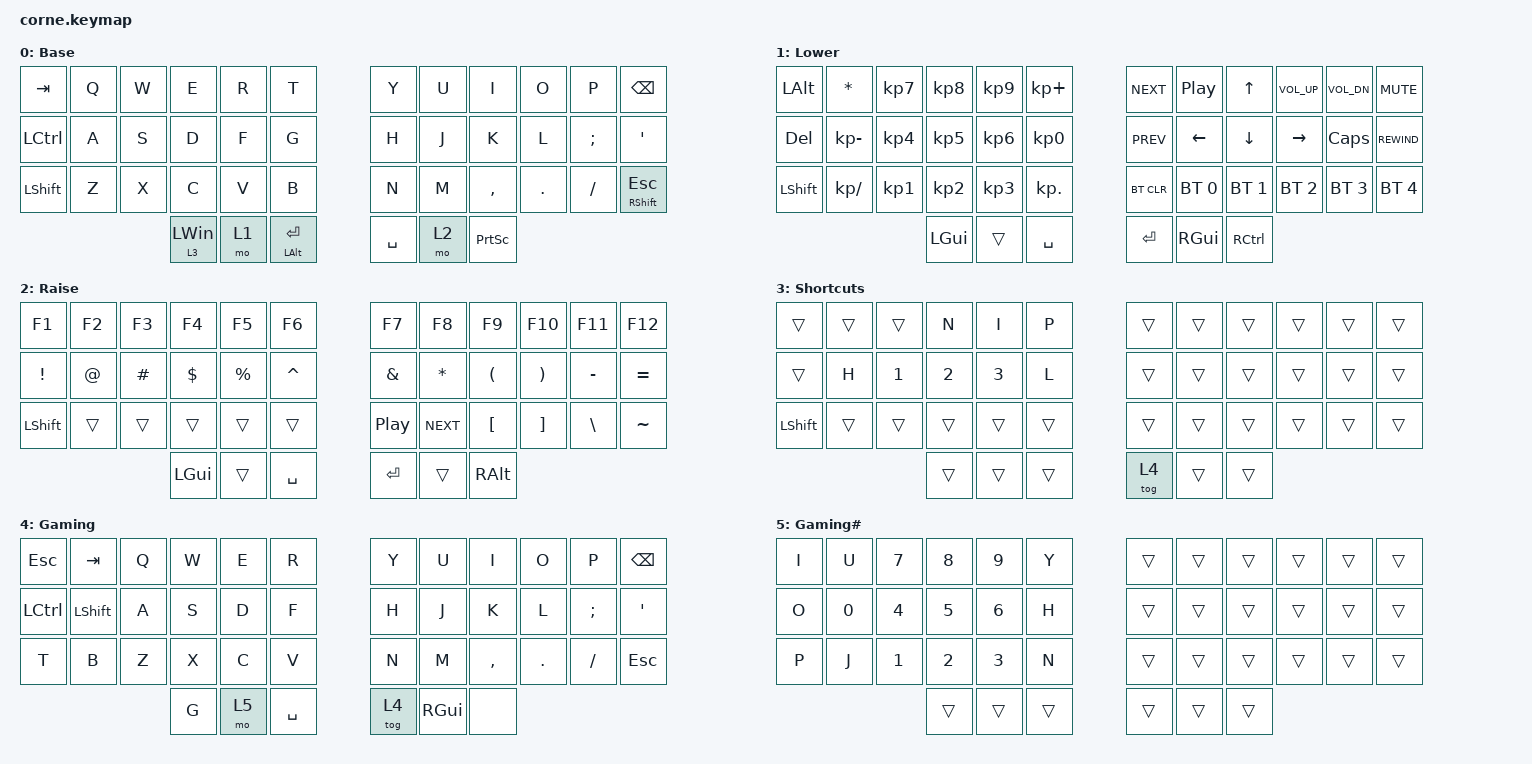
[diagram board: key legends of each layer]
/*
 * Copyright (c) 2020 The ZMK Contributors
 *
 * SPDX-License-Identifier: MIT
 */

#include <behaviors.dtsi>
#include <dt-bindings/zmk/bt.h>
#include <dt-bindings/zmk/keys.h>

/ {
    keymap {
        compatible = "zmk,keymap";

        default_layer {
            // -----------------------------------------------------------------------------------------
            // |  TAB |  Q  |  W  |  E  |  R  |  T  |   |  Y  |  U   |  I  |  O  |  P  | BKSP |
            // | CTRL |  A  |  S  |  D  |  F  |  G  |   |  H  |  J   |  K  |  L  |  ;  |  '   |
            // | SHFT |  Z  |  X  |  C  |  V  |  B  |   |  N  |  M   |  ,  |  .  |  /  | ESC  |
            //                    | GUI | LWR | SPC |   | ENT | RSE  | ALT |

            display-name = "Base";
            bindings = <
&kp TAB    &kp Q  &kp W  &kp E           &kp R  &kp T                 &kp Y      &kp U  &kp I            &kp O    &kp P     &kp BSPC
&kp LCTRL  &kp A  &kp S  &kp D           &kp F  &kp G                 &kp H      &kp J  &kp K            &kp L    &kp SEMI  &kp SQT
&kp LSHFT  &kp Z  &kp X  &kp C           &kp V  &kp B                 &kp N      &kp M  &kp COMMA        &kp DOT  &kp FSLH  &mt RSHIFT ESCAPE
                         &lt 3 LEFT_WIN  &mo 1  &mt LEFT_ALT ENTER    &kp SPACE  &mo 2  &kp PRINTSCREEN
            >;
        };

        lower_layer {
            // -----------------------------------------------------------------------------------------
            // |  TAB |  1  |  2  |  3  |  4  |  5  |   |  6  |  7  |  8  |  9  |  0  | BKSP |
            // | BTCLR| BT1 | BT2 | BT3 | BT4 | BT5 |   | LFT | DWN |  UP | RGT |     |      |
            // | SHFT |     |     |     |     |     |   |     |     |     |     |     |      |
            //                    | GUI |     | SPC |   | ENT |     | ALT |

            display-name = "Lower";
            bindings = <
&kp LEFT_ALT  &kp ASTRK        &kp KP_NUMBER_7  &kp KP_NUMBER_8  &kp KP_NUMBER_9  &kp KP_PLUS        &kp C_NEXT  &kp C_PLAY_PAUSE  &kp UP_ARROW    &kp C_VOL_UP  &kp C_VOL_DN  &kp C_MUTE
&kp DEL       &kp KP_SUBTRACT  &kp KP_NUMBER_4  &kp KP_NUMBER_5  &kp KP_NUMBER_6  &kp KP_NUMBER_0    &kp C_PREV  &kp LEFT          &kp DOWN_ARROW  &kp RIGHT     &kp CAPSLOCK  &kp C_REWIND
&kp LSHFT     &kp KP_SLASH     &kp KP_NUMBER_1  &kp KP_NUMBER_2  &kp KP_NUMBER_3  &kp KP_DOT         &bt BT_CLR  &bt BT_SEL 0      &bt BT_SEL 1    &bt BT_SEL 2  &bt BT_SEL 3  &bt BT_SEL 4
                                                &kp LGUI         &trans           &kp SPACE          &kp RET     &kp RIGHT_GUI     &kp RCTRL
            >;
        };

        raise_layer {
            // -----------------------------------------------------------------------------------------
            // |  TAB |  !  |  @  |  #  |  $  |  %  |   |  ^  |  &  |  *  |  (  |  )  | BKSP |
            // | CTRL |     |     |     |     |     |   |  -  |  =  |  [  |  ]  |  \  |  `   |
            // | SHFT |     |     |     |     |     |   |  _  |  +  |  {  |  }  | "|" |  ~   |
            //                    | GUI |     | SPC |   | ENT |     | ALT |

            display-name = "Raise";
            bindings = <
&kp F1           &kp F2       &kp F3    &kp F4      &kp F5       &kp F6       &kp F7            &kp F8        &kp F9                &kp F10                &kp F11    &kp F12
&kp EXCLAMATION  &kp AT_SIGN  &kp HASH  &kp DOLLAR  &kp PERCENT  &kp CARET    &kp AMPERSAND     &kp ASTERISK  &kp LEFT_PARENTHESIS  &kp RIGHT_PARENTHESIS  &kp MINUS  &kp EQUAL
&kp LSHFT        &trans       &trans    &trans      &trans       &trans       &kp C_PLAY_PAUSE  &kp C_NEXT    &kp LEFT_BRACKET      &kp RIGHT_BRACKET      &kp BSLH   &kp TILDE
                                        &kp LGUI    &trans       &kp SPACE    &kp RET           &trans        &kp RALT
            >;
        };

        shortcuts {
            bindings = <
&trans          &trans  &trans        &kp N         &kp I         &kp P     &trans  &trans  &trans  &trans  &trans  &trans
&trans          &kp H   &kp NUMBER_1  &kp NUMBER_2  &kp NUMBER_3  &kp L     &trans  &trans  &trans  &trans  &trans  &trans
&kp LEFT_SHIFT  &trans  &trans        &trans        &trans        &trans    &trans  &trans  &trans  &trans  &trans  &trans
                                      &trans        &trans        &trans    &tog 4  &trans  &trans
            >;

            label = "Shortcuts";
        };

        Game_Layer {
            bindings = <
&kp ESC    &kp TAB    &kp Q  &kp W  &kp E  &kp R        &kp Y   &kp U          &kp I      &kp O    &kp P     &kp BSPC
&kp LCTRL  &kp LSHFT  &kp A  &kp S  &kp D  &kp F        &kp H   &kp J          &kp K      &kp L    &kp SEMI  &kp SQT
&kp T      &kp B      &kp Z  &kp X  &kp C  &kp V        &kp N   &kp M          &kp COMMA  &kp DOT  &kp FSLH  &kp ESC
                             &kp G  &mo 5  &kp SPACE    &tog 4  &kp RIGHT_GUI  &none
            >;

            label = "Gaming";
        };

        NumberGame {
            bindings = <
&kp I  &kp U   &kp N7  &kp N8  &kp N9  &kp Y     &trans  &trans  &trans  &trans  &trans  &trans
&kp O  &kp N0  &kp N4  &kp N5  &kp N6  &kp H     &trans  &trans  &trans  &trans  &trans  &trans
&kp P  &kp J   &kp N1  &kp N2  &kp N3  &kp N     &trans  &trans  &trans  &trans  &trans  &trans
                       &trans  &trans  &trans    &trans  &trans  &trans
            >;

            label = "Gaming#";
        };
    };
};
